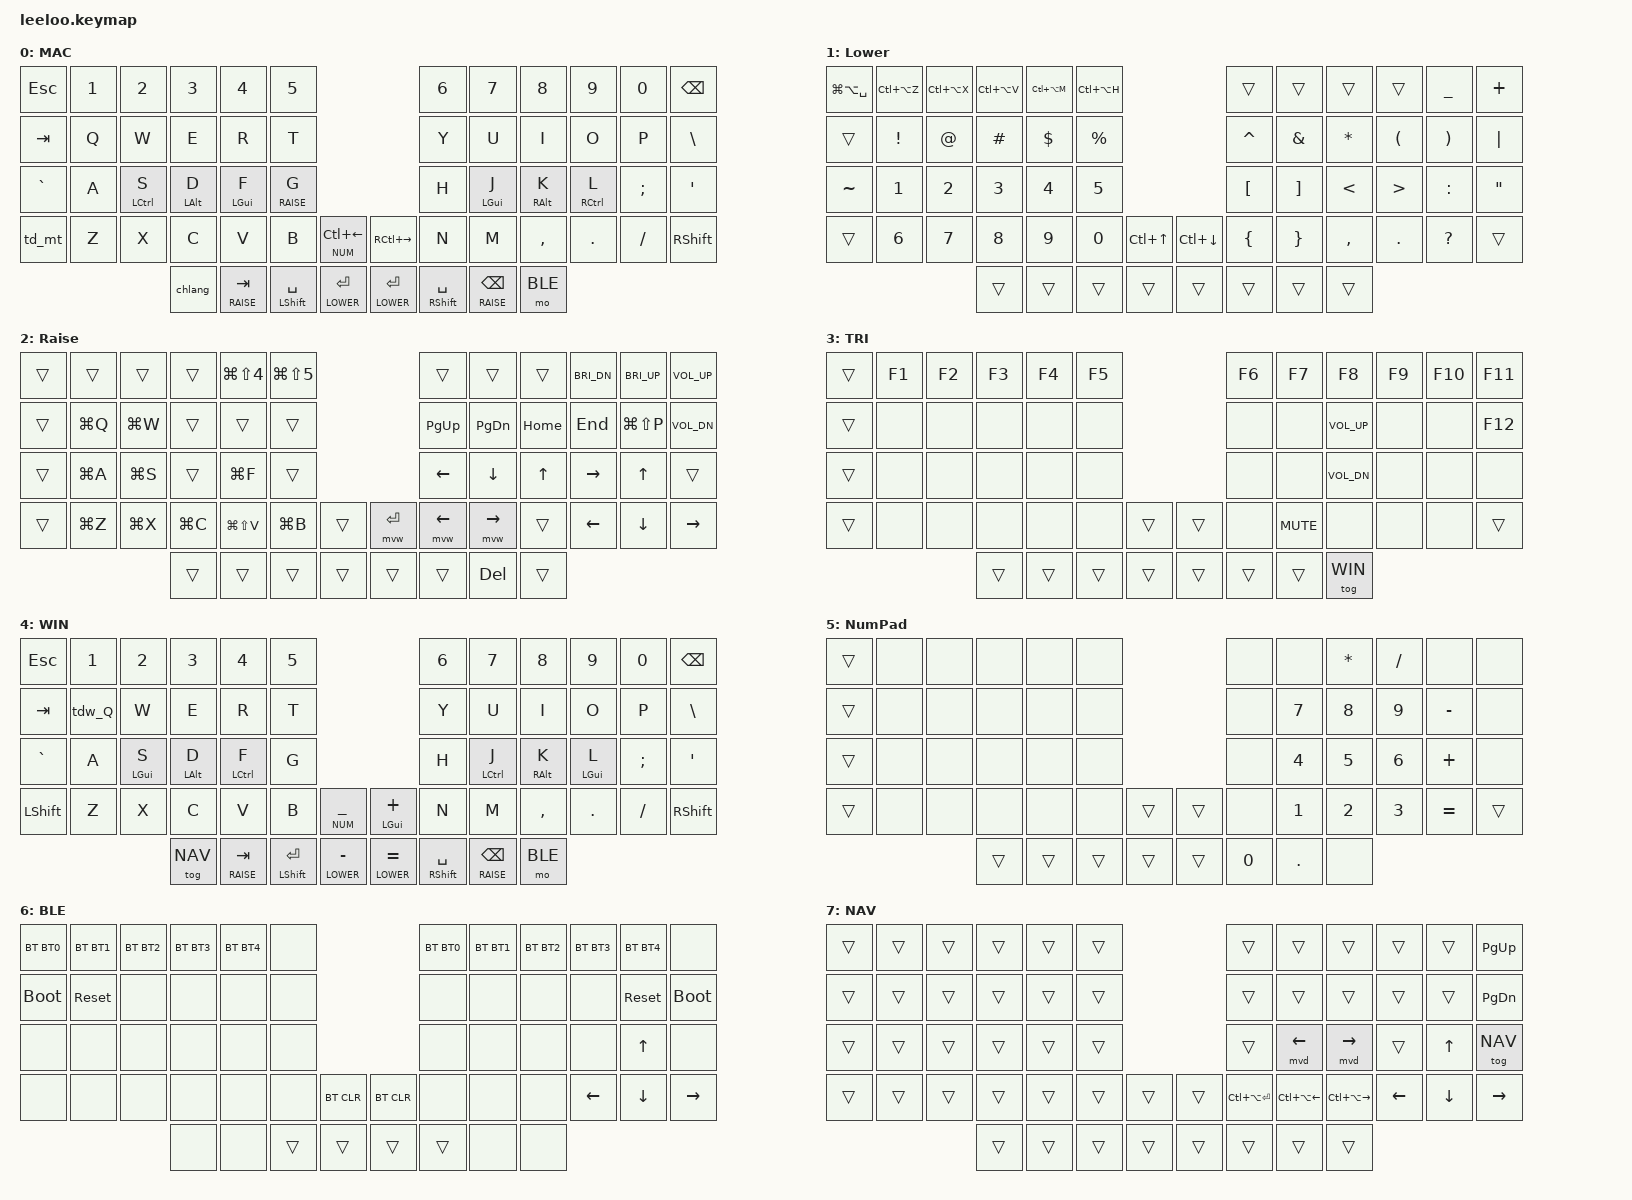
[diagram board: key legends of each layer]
/*
 * Copyright (c) 2023 The ZMK Contributors
 *
 * SPDX-License-Identifier: MIT
 */

#include <behaviors.dtsi>
#include <dt-bindings/zmk/bt.h>
#include <dt-bindings/zmk/keys.h>

// Layers

#define MAC    0
#define LOWER    1
#define RAISE    2
#define TRI    3
#define WIN    4
#define NUM    5
#define BLE    6
#define NAV    7

// Short versions
// Screen Shot

#define WIN_SC  LG(LS(S))
#define OSX_SC  LG(LS(N4))

// switch to other windows of the same app

#define S_WIN    LA(GRAVE)
#define BT0     BT_SEL 0
#define BT1     BT_SEL 1
#define BT2     BT_SEL 2
#define BT3     BT_SEL 3
#define BT4     BT_SEL 4
#define VOLUP   C_VOL_UP
#define VOLDN   C_VOL_DN
#define VOLMT   C_MUTE

/* 
 * Assign the cs-gpios pin to 4.
 * Uncomment these next few lines if implementing nice!view Displays
 */

nice_view_spi: &spi0 {
    //	compatible = "nordic,nrf-spim";
    //	pinctrl-0 = <&spi0_default>;
    //	pinctrl-1 = <&spi0_sleep>;
    //	pinctrl-names = "default", "sleep";

    cs-gpios = <&pro_micro 1 GPIO_ACTIVE_HIGH>;
};

/ {
    conditional_layers {
        compatible = "zmk,conditional-layers";

        adjust_layer {
            if-layers = <1 2>;
            then-layer = <3>;
        };
    };

    combos {
        compatible = "zmk,combos";

        combo_quit_app_win {
            timeout-ms = <50>;
            key-positions = <13 14>;
            layers = <WIN>;
            bindings = <&kp LA(F4)>;
        };

        Raycast {
            bindings = <&kp LG(SPACE)>;
            key-positions = <31 32 33>;
        };

        cut {
            bindings = <&kp LG(X)>;
            key-positions = <37 38>;
        };

        copy {
            bindings = <&kp LG(C)>;
            key-positions = <38 39>;
        };

        paste {
            bindings = <&kp LG(V)>;
            key-positions = <40 39>;
        };

        clipboard_history {
            bindings = <&kp LG(LA(V))>;
            key-positions = <40 41>;
        };

        minus {
            bindings = <&kp MINUS>;
            key-positions = <45 46>;
        };

        equal {
            bindings = <&kp EQUAL>;
            key-positions = <46 47>;
        };

        underscore {
            bindings = <&kp UNDERSCORE>;
            key-positions = <19 20>;
        };

        plus {
            bindings = <&kp PLUS>;
            key-positions = <20 21>;
        };

        up_arrow {
            bindings = <&kp UP_ARROW>;
            key-positions = <34 35>;
        };

        down_arrow {
            bindings = <&kp DOWN_ARROW>;
            key-positions = <34 33>;
        };

        left_arrow {
            bindings = <&kp LEFT>;
            key-positions = <47 48>;
        };

        right_arrow {
            bindings = <&kp RIGHT>;
            key-positions = <48 49>;
        };
    };

    macros {
        mvd: mvd {
            compatible = "zmk,behavior-macro-one-param";
            #binding-cells = <1>; // Must be 1
            label = "Move Display";
            wait-ms = <20>;
            tap-ms = <20>;
            bindings =
                <&macro_press>,
                <&kp LGUI &kp LCTRL &kp LALT &macro_param_1to1>,
                <&macro_tap>,
                <&kp MACRO_PLACEHOLDER>,
                <&macro_release>,
                <&kp LGUI &kp LCTRL &kp LALT>,
                <&macro_tap>,
                <&tog NAV>;
        };

        mvw: mvw {
            compatible = "zmk,behavior-macro-one-param";
            #binding-cells = <1>; // Must be 1
            label = "Move Window";
            wait-ms = <20>;
            tap-ms = <20>;
            bindings =
                <&macro_press>,
                <&kp LCTRL &kp LALT &macro_param_1to1>,
                <&macro_tap>,
                <&kp MACRO_PLACEHOLDER>,
                <&macro_release>,
                <&kp LCTRL &kp LALT>;

            // <&macro_tap &tog 10>;
        };

        caps_macro: caps_macro {
            compatible = "zmk,behavior-macro";
            label = "caps_macro";
            #binding-cells = <0>;
            wait-ms = <30>;
            tap-ms = <200>;
            bindings = <&kp CAPS>;
        };

        chlang: chlang {
            compatible = "zmk,behavior-macro";
            label = "change language";
            #binding-cells = <0>;
            wait-ms = <15>;
            tap-ms = <30>;
            bindings = <&kp LC(SPACE)>;
        };
    };

    behaviors {
        sc: shift_caps {
            compatible = "zmk,behavior-hold-tap";
            label = "shiftcaps";
            #binding-cells = <2>;
            flavor = "hold-preferred";
            tapping-term-ms = <200>;
            bindings = <&kp>, <&caps_macro>;
        };

        td_mt: tap_dance_mod_tap {
            compatible = "zmk,behavior-tap-dance";
            label = "TAP_DANCE_MOD_TAP";
            #binding-cells = <0>;
            tapping-term-ms = <200>;
            bindings = <&kp LSHIFT>, <&caps_macro>;
        };

        tdw_Q: tap_dance_0 {
            compatible = "zmk,behavior-tap-dance";
            label = "WIN_QUIT";
            #binding-cells = <0>;
            tapping-term-ms = <200>;
            bindings = <&kp Q>, <&kp LA(F4)>;
        };

        tdx_Q: tap_dance_1 {
            compatible = "zmk,behavior-tap-dance";
            label = "MAC_QUIT";
            #binding-cells = <0>;
            tapping-term-ms = <200>;
            bindings = <&kp Q>, <&kp LG(Q)>;
        };

        ht: hold_tap {
            label = "hold_tap";
            compatible = "zmk,behavior-hold-tap";
            #binding-cells = <2>;
            flavor = "balanced";
            tapping-term-ms = <200>;
            quick-tap-ms = <200>;
            bindings = <&kp>, <&kp>;
        };

        hm: homerow_mods {
            compatible = "zmk,behavior-hold-tap";
            label = "HOMEROW_MODS";
            #binding-cells = <2>;
            require-prior-idle-ms = <125>;
            tapping-term-ms = <200>;
            quick-tap-ms = <200>;
            flavor = "tap-preferred";
            bindings = <&kp>, <&kp>;
        };

        hl: homerow_layertap {
            compatible = "zmk,behavior-hold-tap";
            label = "HOMEROW_LAYERTAP";
            #binding-cells = <2>;
            require-prior-idle-ms = <125>;
            tapping-term-ms = <200>;
            quick-tap-ms = <200>;
            flavor = "tap-preferred";
            bindings = <&mo>, <&kp>;
        };

    };

    keymap {
        compatible = "zmk,keymap";

        default_mac_layer {
            label = " MAC";
            bindings = <
&kp ESC    &kp N1  &kp N2       &kp N3      &kp N4         &kp N5                                                   &kp N6            &kp N7               &kp N8      &kp N9       &kp N0    &kp BSPC
&kp TAB    &kp Q   &kp W        &kp E       &kp R          &kp T                                                    &kp Y             &kp U                &kp I       &kp O        &kp P     &kp BSLH
&kp GRAVE  &kp A   &hm LCTRL S  &hm LALT D  &hm LGUI F     &hl RAISE G                                              &kp H             &hm LGUI J           &hm RALT K  &hm RCTRL L  &kp SEMI  &kp SQT
&td_mt     &kp Z   &kp X        &kp C       &kp V          &kp B             &lt NUM LC(LEFT)  &kp RC(RIGHT_ARROW)  &kp N             &kp M                &kp COMMA   &kp DOT      &kp FSLH  &kp RSHFT
                                &chlang     &lt RAISE TAB  &ht LSHIFT SPACE  &lt LOWER RETURN  &lt LOWER RETURN     &ht RSHIFT SPACE  &lt RAISE BACKSPACE  &mo BLE
            >;
        };

        lower_layer {
            label = " Lower";
            bindings = <
&kp LG(LA(SPACE))  &kp LC(LA(Z))  &kp LC(LA(X))  &kp LC(LA(V))  &kp LC(LA(M))  &kp LC(LA(H))                            &trans     &trans    &trans     &trans            &kp UNDER  &kp PLUS
&trans             &kp EXCL       &kp AT         &kp POUND      &kp DOLLAR     &kp PERCENT                              &kp CARET  &kp AMPS  &kp STAR   &kp LPAR          &kp RPAR   &kp PIPE
&kp TILDE          &kp N1         &kp N2         &kp N3         &kp N4         &kp N5                                   &kp LBKT   &kp RBKT  &kp LT     &kp GREATER_THAN  &kp COLON  &kp DQT
&trans             &kp N6         &kp N7         &kp N8         &kp N9         &kp N0         &kp LC(UP)  &kp LC(DOWN)  &kp LBRC   &kp RBRC  &kp COMMA  &kp DOT           &kp QMARK  &trans
                                                 &trans         &trans         &trans         &trans      &trans        &trans     &trans    &trans
            >;
        };

        raise_layer {
            label = " Raise";
            bindings = <
&trans  &trans     &trans     &trans     &kp LG(LS(N4))  &kp LG(LS(N5))                    &trans     &trans      &trans    &kp C_BRI_DN  &kp C_BRI_UP   &kp C_VOL_UP
&trans  &kp LG(Q)  &kp LG(W)  &trans     &trans          &trans                            &kp PG_UP  &kp PG_DN   &kp HOME  &kp END       &kp LG(LS(P))  &kp C_VOL_DN
&trans  &kp LG(A)  &kp LG(S)  &trans     &kp LG(F)       &trans                            &kp LEFT   &kp DOWN    &kp UP    &kp RIGHT     &kp UP         &trans
&trans  &kp LG(Z)  &kp LG(X)  &kp LG(C)  &kp LG(LS(V))   &kp LG(B)       &trans  &mvw RET  &mvw LEFT  &mvw RIGHT  &trans    &kp LEFT      &kp DOWN       &kp RIGHT
                              &trans     &trans          &trans          &trans  &trans    &trans     &kp DEL     &trans
            >;
        };

        tri_layer {
            label = " TRI";
            bindings = <
&trans  &kp F1  &kp F2  &kp F3  &kp F4  &kp F5                  &kp F6  &kp F7     &kp F8     &kp F9  &kp F10  &kp F11
&trans  &none   &none   &none   &none   &none                   &none   &none      &kp VOLUP  &none   &none    &kp F12
&trans  &none   &none   &none   &none   &none                   &none   &none      &kp VOLDN  &none   &none    &none
&trans  &none   &none   &none   &none   &none   &trans  &trans  &none   &kp VOLMT  &none      &none   &none    &trans
                        &trans  &trans  &trans  &trans  &trans  &trans  &trans     &tog WIN
            >;
        };

        win_layer {
            label = " WIN";
            bindings = <
&kp ESC    &kp N1  &kp N2      &kp N3      &kp N4         &kp N5                                           &kp N6           &kp N7          &kp N8      &kp N9      &kp N0    &kp BSPC
&kp TAB    &tdw_Q  &kp W       &kp E       &kp R          &kp T                                            &kp Y            &kp U           &kp I       &kp O       &kp P     &kp BSLH
&kp GRAVE  &kp A   &hm LGUI S  &hm LALT D  &hm LCTRL F    &kp G                                            &kp H            &hm LCTRL J     &hm RALT K  &hm LGUI L  &kp SEMI  &kp SQT
&kp LSHFT  &kp Z   &kp X       &kp C       &kp V          &kp B          &lt NUM UNDER    &mt LGUI PLUS    &kp N            &kp M           &kp COMMA   &kp DOT     &kp FSLH  &kp RSHFT
                               &tog NAV    &lt RAISE TAB  &ht LSHFT RET  &lt LOWER MINUS  &lt LOWER EQUAL  &ht RSHFT SPACE  &lt RAISE BSPC  &mo BLE
            >;
        };

        numpad_layer {
            label = " NumPad";
            bindings = <
&trans  &none  &none  &none   &none   &none                   &none   &none    &kp ASTRK  &kp SLASH  &none      &none
&trans  &none  &none  &none   &none   &none                   &none   &kp N7   &kp N8     &kp N9     &kp MINUS  &none
&trans  &none  &none  &none   &none   &none                   &none   &kp N4   &kp N5     &kp N6     &kp PLUS   &none
&trans  &none  &none  &none   &none   &none   &trans  &trans  &none   &kp N1   &kp N2     &kp N3     &kp EQUAL  &trans
                      &trans  &trans  &trans  &trans  &trans  &kp N0  &kp DOT  &none
            >;
        };

        firmware_layer {
            label = " BLE";
            bindings = <
&bt BT0      &bt BT1     &bt BT2  &bt BT3  &bt BT4  &none                           &bt BT0  &bt BT1  &bt BT2  &bt BT3   &bt BT4     &none
&bootloader  &sys_reset  &none    &none    &none    &none                           &none    &none    &none    &none     &sys_reset  &bootloader
&none        &none       &none    &none    &none    &none                           &none    &none    &none    &none     &kp UP      &none
&none        &none       &none    &none    &none    &none   &bt BT_CLR  &bt BT_CLR  &none    &none    &none    &kp LEFT  &kp DOWN    &kp RIGHT
                                  &none    &none    &trans  &trans      &trans      &trans   &none    &none
            >;
        };

        NAV {
            bindings = <
&trans  &trans  &trans  &trans  &trans  &trans                  &trans           &trans            &trans             &trans    &trans    &kp PAGE_UP
&trans  &trans  &trans  &trans  &trans  &trans                  &trans           &trans            &trans             &trans    &trans    &kp PAGE_DOWN
&trans  &trans  &trans  &trans  &trans  &trans                  &trans           &mvd LEFT         &mvd RIGHT         &trans    &kp UP    &tog NAV
&trans  &trans  &trans  &trans  &trans  &trans  &trans  &trans  &kp LC(LA(RET))  &kp LC(LA(LEFT))  &kp LC(LA(RIGHT))  &kp LEFT  &kp DOWN  &kp RIGHT
                        &trans  &trans  &trans  &trans  &trans  &trans           &trans            &trans
            >;

            label = "NAV";
        };
    };
};
